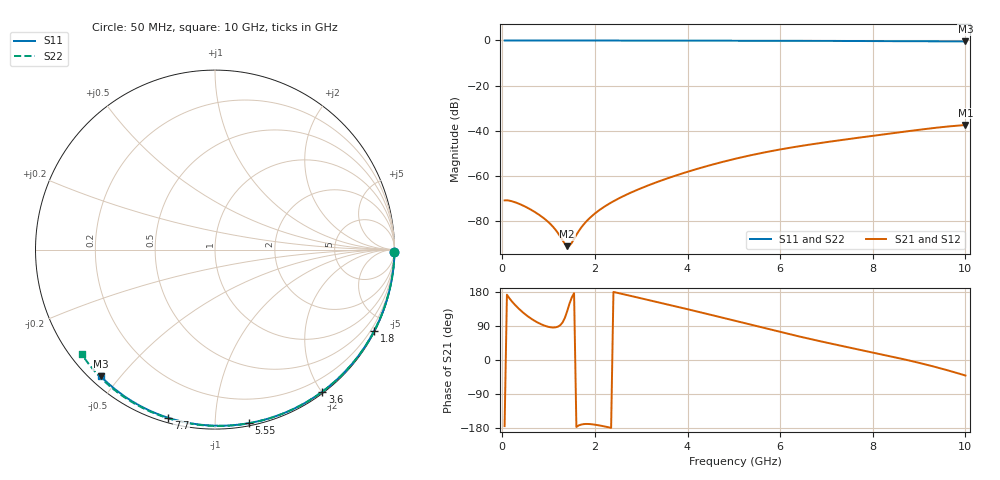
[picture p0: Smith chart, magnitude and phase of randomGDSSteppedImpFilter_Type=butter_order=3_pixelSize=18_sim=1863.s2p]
! freq	dB(S11)	phase(S11)	dB(S12)	phase(S12)
!  dB(S21)	phase(S21)	dB(S22)	phase(S22)
!S-par simulation data
#  GHz  S  DB  R 50
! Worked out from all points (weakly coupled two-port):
!   200 points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, 50 MHz to 10 GHz, reference 50 ohm
!   highest |S21| = -37.47 dB at 10 GHz (marker M1); lowest = -91.1 dB at 1.4 GHz (marker M2)
!   lowest |S11| = -0.4 dB at 10 GHz (marker M3), VSWR 39.19, Z = 1.53 - j22.2 ohm
!   |S11| at or under -10 dB: nowhere
!   |S22| runs from -0.5 to 0.0 dB; largest |S21 - S12| = 0
!   S11 on the Smith chart (normalised r, x): 50 MHz: open; 1.8 GHz: 0.04, -4.15; 3.6 GHz: 0.02, -2.01; 5.55 GHz: 0.02, -1.21; 7.7 GHz: 0.02, -0.76; 10 GHz: 0.03, -0.44
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0.05  -0.00 -0.8  -70.83 -174.5  -70.83 -174.5  -0.00 -0.8
0.2  -0.00 -3.1  -71.17 155.7  -71.17 155.7  -0.00 -3.3
0.45  -0.01 -6.9  -73.14 125.0  -73.14 125.0  -0.01 -7.4
0.7  -0.01 -10.7  -75.94 103.2  -75.94 103.2  -0.01 -11.5
0.95  -0.02 -14.4  -79.62 89.1  -79.62 89.1  -0.02 -15.6
1  -0.02 -15.2  -80.53 87.4  -80.53 87.4  -0.02 -16.4
1.4  -0.03 -21.2  -91.10 128.4  -91.10 128.4  -0.03 -22.9
1.75  -0.03 -26.4  -81.67 -169.3  -81.67 -169.3  -0.04 -28.5
1.8  -0.03 -27.1  -80.48 -168.8  -80.48 -168.8  -0.04 -29.3
2.1  -0.04 -31.5  -75.07 -172.7  -75.07 -172.7  -0.04 -34.0
2.45  -0.05 -36.6  -70.66 178.2  -70.66 178.2  -0.05 -39.6
2.85  -0.06 -42.4  -66.71 167.0  -66.71 167.0  -0.06 -45.8
3.4  -0.07 -50.2  -62.27 151.3  -62.27 151.3  -0.07 -54.2
3.6  -0.07 -52.9  -60.83 145.6  -60.83 145.6  -0.08 -57.2
4.3  -0.09 -62.6  -56.33 125.2  -56.33 125.2  -0.10 -67.5
5.05  -0.11 -72.6  -52.30 102.7  -52.30 102.7  -0.12 -78.3
5.55  -0.13 -79.1  -50.04 87.5  -50.04 87.5  -0.14 -85.3
6.7  -0.18 -93.5  -45.92 54.0  -45.92 54.0  -0.19 -100.9
7.7  -0.24 -105.5  -43.05 27.6  -43.05 27.6  -0.26 -114.0
8.35  -0.29 -113.1  -41.28 10.7  -41.28 10.7  -0.31 -122.3
9.2  -0.36 -122.9  -39.05 -13.6  -39.05 -13.6  -0.40 -132.7
10  -0.44 -132.0  -37.47 -40.9  -37.47 -40.9  -0.51 -141.9
